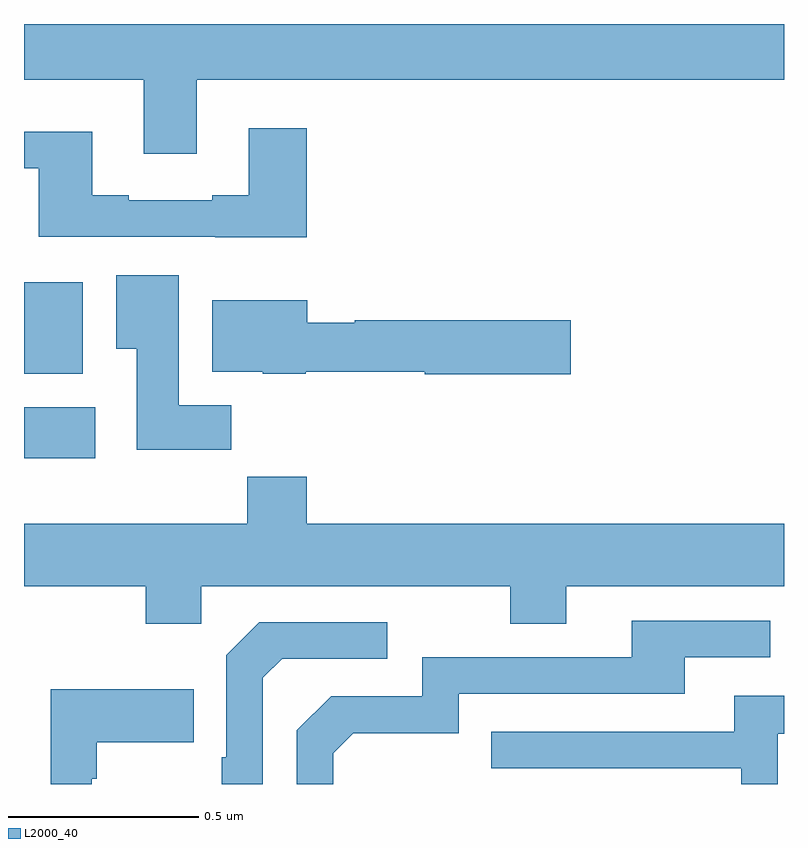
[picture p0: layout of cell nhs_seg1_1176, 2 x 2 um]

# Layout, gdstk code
import gdstk
lib = gdstk.Library(unit=1e-6, precision=1e-09)
def R(c, l, rs):  # rectangles x0, y0, x1, y1
    for r in rs: c.add(gdstk.rectangle(r[:2], r[2:], *l))
def P(c, l, *ps):  # polygons
    for p in ps: c.add(gdstk.Polygon(p, *l))
L2000_40 = (2000, 40)

nhs_seg1_1176 = lib.new_cell('nhs_seg1_1176')
R(nhs_seg1_1176, L2000_40, [(125,564.056,125.188,564.19), (125,564.278,125.155,564.52)])
P(nhs_seg1_1176, L2000_40, [(125.455,565.052),(127,565.052),(127,565.199),(125,565.199),(125,565.052),(125.315,565.052),(125.315,564.858),(125.455,564.858)],
  [(125.744,564.925),(125.591,564.925),(125.591,564.748),(125.495,564.748),(125.495,564.735),(125.275,564.735),(125.275,564.748),(125.179,564.748),(125.179,564.916),(125,564.916),(125,564.819),(125.039,564.819),(125.039,564.639),(125.503,564.639),(125.503,564.638),(125.744,564.638)],
  [(125.546,564.196),(125.407,564.196),(125.407,564.538),(125.243,564.538),(125.243,564.344),(125.297,564.344),(125.297,564.078),(125.546,564.078)],
  [(126.439,564.419),(125.871,564.419),(125.871,564.413),(125.746,564.413),(125.746,564.472),(125.495,564.472),(125.495,564.284),(125.628,564.284),(125.628,564.278),(125.742,564.278),(125.742,564.284),(126.054,564.284),(126.054,564.277),(126.439,564.277)],
  [(125.466,563.72),(126.28,563.72),(126.28,563.621),(126.427,563.621),(126.427,563.72),(127,563.72),(127,563.884),(125.744,563.884),(125.744,564.008),(125.587,564.008),(125.587,563.884),(125,563.884),(125,563.72),(125.32,563.72),(125.32,563.621),(125.466,563.621)],
  [(125.814,563.28),(125.867,563.333),(126.144,563.333),(126.144,563.436),(126.739,563.436),(126.739,563.532),(126.964,563.532),(126.964,563.628),(126.599,563.628),(126.599,563.532),(126.048,563.532),(126.048,563.43),(125.808,563.43),(125.718,563.34),(125.718,563.199),(125.814,563.199)],
  [(125.628,563.478),(125.679,563.529),(125.956,563.529),(125.956,563.625),(125.619,563.625),(125.532,563.538),(125.532,563.269),(125.52,563.269),(125.52,563.199),(125.628,563.199)],
  [(125.178,563.213),(125.191,563.213),(125.191,563.309),(125.447,563.309),(125.447,563.449),(125.07,563.449),(125.07,563.199),(125.178,563.199)],
  [(126.984,563.331),(127,563.331),(127,563.431),(126.869,563.431),(126.869,563.337),(126.229,563.337),(126.229,563.241),(126.888,563.241),(126.888,563.199),(126.984,563.199)])

lib.write_gds('nhs_seg1_1176.gds')
